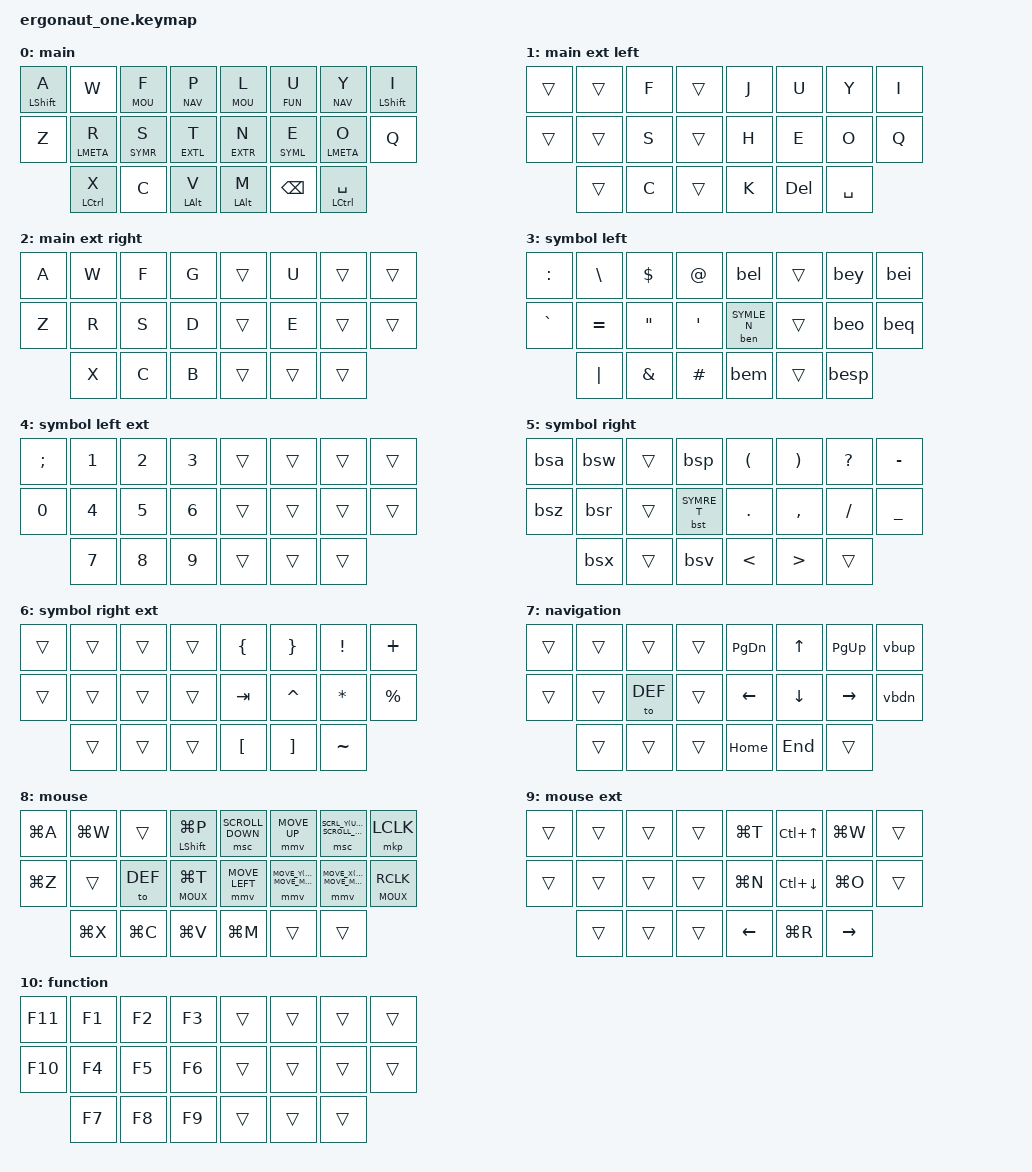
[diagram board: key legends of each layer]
/*
*
* Copyright (c) 2021 Darryl deHaan
* SPDX-License-Identifier: MIT
*
*/
#include <behaviors.dtsi>
#include <dt-bindings/zmk/keys.h>
#include <dt-bindings/zmk/bt.h>
#include <dt-bindings/zmk/mouse.h>

#define DEF   0
#define EXTL  1
#define EXTR  2
#define SYML  3
#define SYMLE 4
#define SYMR  5
#define SYMRE 6
#define NAV   7
#define MOU   8
#define MOUX  9
#define FUN   10

#undef U_MOUSE_MOVE_MAX
#undef U_MOUSE_SCROLL_MAX

#define U_MOUSE_MOVE_MAX 3000
#define U_MOUSE_MOVE_FAST_MAX 3000
#define U_MOUSE_SCROLL_MAX 35

#undef MOVE_UP
#undef MOVE_DOWN
#undef MOVE_LEFT
#undef MOVE_RIGHT
#define MOVE_UP MOVE_Y(-U_MOUSE_MOVE_MAX)
#define MOVE_DOWN MOVE_Y(U_MOUSE_MOVE_MAX)
#define MOVE_LEFT MOVE_X(-U_MOUSE_MOVE_MAX)
#define MOVE_RIGHT MOVE_X(U_MOUSE_MOVE_MAX)

#undef MOVE_UP_FAST
#undef MOVE_DOWN_FAST
#undef MOVE_LEFT_FAST
#undef MOVE_RIGHT_FAST
#define MOVE_UP_FAST MOVE_Y(-U_MOUSE_MOVE_FAST_MAX)
#define MOVE_DOWN_FAST MOVE_Y(U_MOUSE_MOVE_FAST_MAX)
#define MOVE_LEFT_FAST MOVE_X(-U_MOUSE_MOVE_FAST_MAX)
#define MOVE_RIGHT_FAST MOVE_X(U_MOUSE_MOVE_FAST_MAX)


#undef SCROLL_UP
#undef SCROLL_DOWN
#undef SCROLL_LEFT
#undef SCROLL_RIGHT
#define SCROLL_UP SCRL_Y(U_MOUSE_SCROLL_MAX)
#define SCROLL_DOWN SCRL_Y(-U_MOUSE_SCROLL_MAX)
#define SCROLL_LEFT SCRL_X(-U_MOUSE_SCROLL_MAX)
#define SCROLL_RIGHT SCRL_X(U_MOUSE_SCROLL_MAX)

#define HYPER(x) LC(LA(LS(LG(x))))

#define QUICK_TAP_MS 150
#define TAP_TERM_L_MS 200
#define TAP_TERM_M_MS 250
#define TAP_TERM_LONG_MS 650
 
#define KEYS_L 0 1 2 3 8 9 10 11 16 17 18  // left hand
#define KEYS_R 4 5 6 7 12 13 14 15 19 20 21  // right hand

/ {
    combos {
        compatible = "zmk,combos";
        combo_ret {
			timeout-ms = <80>;
			key-positions = <20 21>;
            layers = <DEF EXTL EXTR NAV MOU MOUX>; 
			bindings = <&kp RET>;
		};
		combo_esc {
			timeout-ms = <80>;
			key-positions = <19 20>;
            layers = <DEF EXTL EXTR NAV MOU MOUX>;
			bindings = <&kp ESC>;
		};
		combo_def {
			timeout-ms = <80>;
			key-positions = <19 20 21>;
            layers = <DEF NAV MOU MOUX>;
			bindings = <&to DEF>;
		};
	};
};

#define BGRM(name, k1, k2) \
    / { \
        macros { \
            name: name{ \
                compatible = "zmk,behavior-macro"; \
                #binding-cells = <0>; \
                bindings = <&macro_tap &kp k1 &kp k2>; \
            }; \
        }; \
    };

#define BGRMLHT(namem, nameb, k1, k2) \
    / { \
        macros { \
            namem: namem{ \
                compatible = "zmk,behavior-macro"; \
                #binding-cells = <0>; \
                bindings = <&macro_tap &kp k1 &kp k2>; \
            }; \
        }; \
	    behaviors { \
            nameb: nameb { \
                compatible = "zmk,behavior-hold-tap"; \ 
			    #binding-cells = <2>; \
                flavor = "balanced"; \
                tapping-term-ms = <TAP_TERM_L_MS>; \
                bindings = <&mo>, <&namem>; \
            }; \
        }; \
    };





BGRM(bsa, S, A)
BGRM(bsz, S, Z)
BGRM(bsw, S, W)
BGRM(bsr, S, R)
BGRM(bsx, S, X)
BGRM(bsp, S, P)
BGRMLHT(bst_, bst, S, T)
BGRM(bsv, S, V)


BGRM(bel, E, L)
BGRMLHT(ben_, ben, E, N)
BGRM(bem, E, M)
BGRM(bey, E, Y)
BGRM(beo, E, O)
BGRM(besp, E, SPACE)
BGRM(bei, E, I)
BGRM(beq, E, Q)

/ { 
	behaviors { 
        lmht: lmht { 
		    compatible = "zmk,behavior-hold-tap"; 
            #binding-cells = <2>; 
		    flavor = "balanced"; 
            tapping-term-ms = <TAP_TERM_M_MS>; 
            hold-trigger-key-positions = <KEYS_R>; 
            bindings = <&kp>, <&kp>; 
        }; 
        rmht: rmht { 
            compatible = "zmk,behavior-hold-tap"; 
			#binding-cells = <2>; 
            flavor = "balanced"; 
            tapping-term-ms = <TAP_TERM_M_MS>; 
            hold-trigger-key-positions = <KEYS_L>; 
            bindings = <&kp>, <&kp>; 
        };
        lmhts: lmhts { 
            compatible = "zmk,behavior-hold-tap"; 
			#binding-cells = <2>; 
            flavor = "balanced"; 
            tapping-term-ms = <TAP_TERM_M_MS>; 
            hold-trigger-key-positions = <KEYS_R>; 
            bindings = <&kp>, <&kp>; 
        }; 
        rmhts: rmhts { 
            compatible = "zmk,behavior-hold-tap"; 
			#binding-cells = <2>; 
            flavor = "balanced"; 
            tapping-term-ms = <TAP_TERM_M_MS>; 
            hold-trigger-key-positions = <KEYS_L>; 
            bindings = <&kp>, <&kp>; 
        };
        llht: llht { 
            compatible = "zmk,behavior-hold-tap"; 
			#binding-cells = <2>; 
            flavor = "balanced"; 
            tapping-term-ms = <TAP_TERM_L_MS>; 
            bindings = <&mo>, <&kp>; 
        }; 
        llhtl: llhtl { 
            compatible = "zmk,behavior-hold-tap"; 
			#binding-cells = <2>; 
            flavor = "balanced"; 
            tapping-term-ms = <TAP_TERM_LONG_MS>; 
            bindings = <&mo>, <&kp>; 
        }; 
        lltg: lltg { 
            compatible = "zmk,behavior-hold-tap"; 
			#binding-cells = <2>; 
            flavor = "balanced"; 
            tapping-term-ms = <TAP_TERM_LONG_MS>; 
            bindings = <&tog>, <&kp>; 
        }; 
        cw: cw { 
            compatible = "zmk,behavior-hold-tap"; 
			#binding-cells = <2>; 
            flavor = "balanced"; 
            tapping-term-ms = <TAP_TERM_L_MS>; 
            quick-tap-ms = <QUICK_TAP_MS>; 
            bindings = <&caps_word>, <&kp>; 
        }; 
        rlht: rlht { 
            compatible = "zmk,behavior-hold-tap"; 
			#binding-cells = <2>; 
            flavor = "balanced"; 
            tapping-term-ms = <TAP_TERM_L_MS>; 
            quick-tap-ms = <QUICK_TAP_MS>; 
            bindings = <&mo>, <&kp>; 
        }; 
        rlhtl: rlhtl { 
            compatible = "zmk,behavior-hold-tap"; 
			#binding-cells = <2>; 
            flavor = "balanced"; 
            tapping-term-ms = <TAP_TERM_LONG_MS>; 
            bindings = <&mo>, <&kp>; 
        }; 

        mkpht: mkpht { 
            compatible = "zmk,behavior-hold-tap"; 
			#binding-cells = <2>; 
            flavor = "balanced"; 
            tapping-term-ms = <TAP_TERM_L_MS>; 
            quick-tap-ms = <QUICK_TAP_MS>; 
            bindings = <&mo>, <&mkp>; 
        }; 
        vbup: vbup{ 
            compatible = "zmk,behavior-mod-morph"; 
            #binding-cells = <0>; 
            bindings = <&kp C_VOL_UP>, <&kp C_BRI_UP>; 
            mods = <(MOD_LSFT)>; 
        }; 
        vbdn: vbdn{ 
            compatible = "zmk,behavior-mod-morph"; 
            #binding-cells = <0>; 
            bindings = <&kp C_VOL_DN>, <&kp C_BRI_DN>; 
            mods = <(MOD_LSFT)>; 
        }; 
    }; 
};

/ {
    chosen {
        zmk,matrix_transform = &default_transform;
        // zmk,matrix_transform = &five_column_transform;
     };


};

&mmv {
    time-to-max-speed-ms = <300>;
    acceleration-exponent = <1>;
};

&msc {
    time-to-max-speed-ms = <0>;
    acceleration-exponent = <1>;
};

&lt { quick_tap_ms = <TAP_TERM_L_MS>; };
&mt { quick_tap_ms = <TAP_TERM_M_MS>; };

/ {
        keymap {
                compatible = "zmk,keymap";
                default_layer {
			label = "main";
                        bindings = <
&lmhts LSHFT A  &kp W           &llht MOU F   &llht NAV P     &lltg MOU L     &rlht FUN U   &lltg NAV Y        &rmhts LSHFT I
&kp Z           &lmht LMETA R   &llht SYMR S  &llhtl EXTL T   &rlhtl EXTR N   &rlht SYML E  &rmht LMETA O      &kp Q
                &lmht LCTRL X   &kp C         &lmht LALT V    &rmht LALT M    &kp BSPC      &rmht LCTRL SPACE
                 >;
         };
         default_ext_left_layer {
 	label = "main ext left";
                 bindings = <
&trans  &trans  &kp F  &trans  &kp J  &kp U    &kp Y    &kp I
&trans  &trans  &kp S  &trans  &kp H  &kp E    &kp O    &kp Q
        &trans  &kp C  &trans  &kp K  &kp DEL  &kp SPACE
                 >;
         }; 
         default_ext_right_layer {
 	label = "main ext right";
                 bindings = <
&kp A  &kp W  &kp F  &kp G  &trans  &kp U  &trans  &trans
&kp Z  &kp R  &kp S  &kp D  &trans  &kp E  &trans  &trans
       &kp X  &kp C  &kp B  &trans  &trans &trans
                 >;
         };
		 
 symbol_left_layer {
 	label = "symbol left";
                 bindings = <
&kp COLON  &kp BSLH  &kp DLLR  &kp AT     &bel         &trans    &bey  &bei
&kp GRAVE  &kp EQUAL &kp DQT   &kp SQT    &ben SYMLE N &trans    &beo  &beq
           &kp PIPE  &kp AMPS  &kp HASH   &bem         &trans    &besp
                 > ;
         };

 symbol_left_ext_layer {
 	label = "symbol left ext";
                 bindings = <
&kp SEMI &kp N1  &kp N2  &kp N3   &trans  &trans  &trans  &trans
&kp N0   &kp N4  &kp N5  &kp N6   &trans  &trans  &trans  &trans
         &kp N7  &kp N8  &kp N9   &trans  &trans  &trans
                 > ;
         };

 symbol_right_layer {
 	label = "symbol right";
                bindings = <
&bsa   &bsw  &trans  &bsp            &kp LPAR  &kp RPAR   &kp QMARK  &kp MINUS
&bsz   &bsr  &trans  &bst SYMRE T    &kp DOT   &kp COMMA  &kp FSLH   &kp UNDER
       &bsx  &trans  &bsv            &kp LT    &kp GT     &trans
                 >;
         };

 symbol_right_ext_layer {
 	label = "symbol right ext";
                bindings = <
&trans   &trans   &trans  &trans   &kp LBRC  &kp RBRC   &kp EXCL  &kp PLUS
&trans   &trans   &trans  &trans   &kp TAB   &kp CARET  &kp STAR  &kp PRCNT 
         &trans   &trans  &trans   &kp LBKT  &kp RBKT   &kp TILDE
                 >;
         };

 navigation_layer {
 	label = "navigation";
                 bindings = <
&trans  &trans   &trans   &trans   &kp PG_DN  &kp UP     &kp PG_UP   &vbup
&trans  &trans   &to DEF  &trans   &kp LEFT   &kp DOWN   &kp RIGHT   &vbdn
        &trans   &trans   &trans   &kp HOME   &kp END    &trans
                 >;
         };

         mouse_layer {
 	label = "mouse";
                 bindings = <
&kp LG(A)  &kp LG(W)  &trans     &lmht LSHFT LG(P)   &msc SCROLL_DOWN   &mmv MOVE_UP    &msc SCROLL_UP   &mkp LCLK
&kp LG(Z)  &trans     &to DEF    &llht MOUX LG(T)    &mmv MOVE_LEFT     &mmv MOVE_DOWN  &mmv MOVE_RIGHT  &mkpht MOUX RCLK       
           &kp LG(X)  &kp LG(C)  &kp LG(V)           &kp LG(M)          &trans          &trans
                 > ;
         };


         mouse_ext_layer {
 	label = "mouse ext";
                 bindings = <
&trans  &trans  &trans  &trans   &kp LG(T)  &kp LC(UP)   &kp LG(W)  &trans
&trans  &trans  &trans  &trans   &kp LG(N)  &kp LC(DOWN) &kp LG(O)  &trans
        &trans  &trans  &trans   &kp LEFT   &kp LG(R)    &kp RIGHT
                 > ;
         };

         fun_layer {
 	label = "function";
                 bindings = <
&kp F11  &kp F1  &kp F2  &kp F3   &trans  &trans  &trans  &trans   
&kp F10  &kp F4  &kp F5  &kp F6   &trans  &trans  &trans  &trans   
         &kp F7  &kp F8  &kp F9   &trans  &trans  &trans   
                        > ;
                };
        };
};
